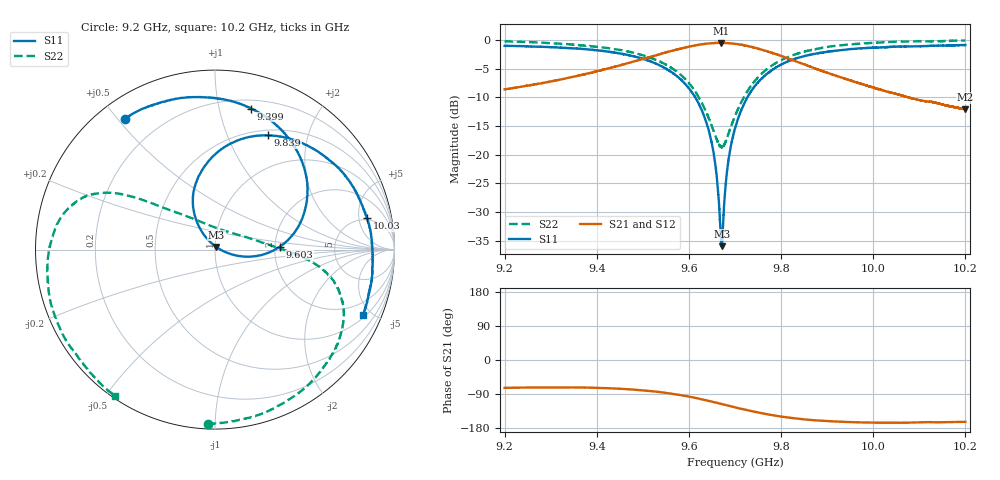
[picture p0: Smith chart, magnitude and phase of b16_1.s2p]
!Agilent Technologies,N5242A,MY51221714,A.09.90.19
!Agilent N5242A: A.09.90.19
!Date: Saturday, December 30, 2023 10:11:48
!Correction: S11(Full 2 Port(1,2))
!S21(Full 2 Port(1,2))
!S12(Full 2 Port(1,2))
!S22(Full 2 Port(1,2))
!S2P File: Measurements: S11, S21, S12, S22:
# Hz S  dB  R 50
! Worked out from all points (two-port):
!   16001 points, 9.2 GHz to 10.2 GHz, reference 50 ohm
!   highest |S21| = -0.53 dB at 9.67 GHz (marker M1); lowest = -12.1 dB at 10.2 GHz (marker M2)
!   |S21| within 3 dB of the highest: 9.491 GHz to 9.825 GHz (333.2 MHz wide, 3.45 % of centre); 9.824628 GHz to 9.824794 GHz (166 kHz wide, 0.00169 % of centre)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
!   lowest |S11| = -35.9 dB at 9.671 GHz (marker M3), VSWR 1.03, Z = 50.8 + j1.43 ohm
!   |S11| at or under -10 dB: 9.614 GHz to 9.727 GHz (113.4 MHz wide, 1.17 % of centre)
!   |S22| runs from -18.7 to -0.1 dB; largest |S21 - S12| = 0.013
!   S11 on the Smith chart (normalised r, x): 9.2 GHz: 0.08, +0.52; 9.399 GHz: 0.27, +1.25; 9.603 GHz: 2.14, +0.08; 9.839 GHz: 0.56, +1.41; 10.03 GHz: 4.68, +6.48; 10.2 GHz: 1.16, -4.48
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9.2e9  -1.05 124.5  -8.62 -73.5  -8.61 -74.3  -0.24 -92.4
9.278062e9  -1.21 106.5  -7.58 -72.4  -7.58 -72.9  -0.49 -71.1
9.366688e9  -1.57 84.5  -6.12 -72.6  -6.10 -73.4  -0.96 -48.3
9.399e9  -1.82 75.7  -5.51 -73.4  -5.49 -74.2  -1.20 -40.3
9.46675e9  -2.62 55.4  -4.08 -77.0  -4.08 -77.6  -2.02 -25.2
9.533375e9  -4.32 32.1  -2.59 -84.2  -2.57 -84.8  -3.66 -13.1
9.603438e9  -8.80 2.6  -1.15 -97.5  -1.13 -98.1  -7.87 -1.1
9.629438e9  -12.53 -8.4  -0.76 -104.1  -0.76 -104.8  -11.20 7.6
9.647812e9  -17.31 -15.1  -0.60 -109.3  -0.60 -110.0  -14.58 22.2
9.65875e9  -22.59 -14.9  -0.56 -112.5  -0.54 -113.1  -17.05 38.4
9.669688e9  -35.14 29.1  -0.53 -115.8  -0.53 -116.4  -18.64 67.0
9.671188e9  -35.91 61.4  -0.53 -116.2  -0.53 -116.8  -18.66 71.9
9.685188e9  -21.31 126.7  -0.58 -120.4  -0.57 -121.1  -16.52 108.5
9.7e9  -15.48 123.8  -0.69 -124.9  -0.67 -125.5  -13.27 126.2
9.750375e9  -7.36 101.5  -1.55 -138.6  -1.53 -139.3  -6.48 145.1
9.838938e9  -3.09 65.2  -3.93 -155.1  -3.94 -155.8  -2.31 156.7
9.866688e9  -2.54 55.7  -4.77 -158.5  -4.76 -159.1  -1.75 160.8
9.94875e9  -1.63 31.8  -7.03 -163.7  -7.02 -164.4  -0.82 176.1
1.003012e10  -1.26 11.6  -9.00 -165.4  -9.00 -166.1  -0.40 -166.1
1.003338e10  -1.25 10.9  -9.09 -165.4  -9.07 -166.1  -0.39 -165.4
1.019931e10  -0.91 -23.5  -12.10 -163.1  -12.07 -163.9  -0.12 -124.6
1.02e10  -0.90 -23.7  -12.08 -163.1  -12.08 -164.0  -0.12 -124.4
